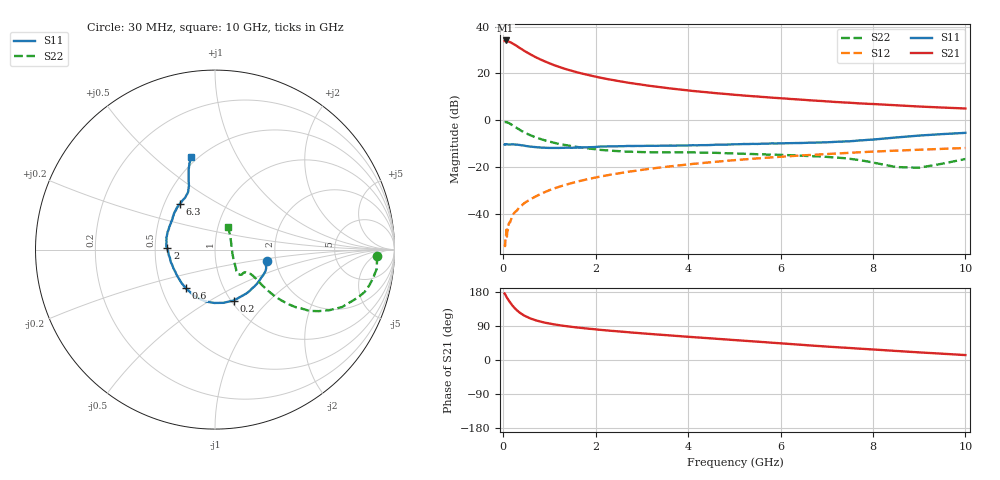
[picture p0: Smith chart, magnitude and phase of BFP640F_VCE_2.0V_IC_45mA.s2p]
! Infineon Technologies  Discrete & RF Semiconductors
! BFP640F
! VCE =  2.0 V,  IC =  45 mA
! Common Emitter S-Parameters:  Apr 2013
# GHz  S  MA  R  50
!  f  S11  S21  S12  S22
! GHz  MAG  ANG  MAG  ANG  MAG  ANG  MAG  ANG
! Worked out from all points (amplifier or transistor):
!   99 points, 30 MHz to 10 GHz, reference 50 ohm
!   highest |S21| = 34.1 dB at 50 MHz (marker M1)
!   |S21| within 3 dB of that: start of sweep to 339.9 MHz
!   unconditionally stable (mu >= 1): 1.195 GHz to end of sweep
!   at 350 MHz: K = 0.66, MSG = 34.1 dB, |S12| = -37.3 dB
!   at 3.5 GHz: K = 1.09, MAG = 15.1 dB, |S12| = -20.1 dB
!   at 10 GHz: K = 1.05, MAG = 7.0 dB, |S12| = -11.9 dB
!   S11 on the Smith chart (normalised r, x): 30 MHz: 1.80, -0.25; 200 MHz: 1.03, -0.64; 600 MHz: 0.66, -0.31; 2 GHz: 0.58, +0.01; 6.3 GHz: 0.60, +0.34; 10 GHz: 0.46, +0.67
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0.03  0.298 -12.5  49.26 175.3  0.0022 70.6  0.9044 -2.2
0.05  0.3033 -19.8  50.6 171.6  0.0031 66.3  0.9063 -5.7
0.07  0.3042 -27.9  50.51 166.9  0.0045 72.0  0.9001 -8.6
0.11  0.3007 -42.7  48.42 158.8  0.0052 82.7  0.8744 -14.5
0.15  0.3001 -55.5  46.61 151.8  0.0065 78.0  0.8293 -19.4
0.2  0.3023 -69.8  43.73 143.5  0.0092 76.5  0.7774 -24.3
0.25  0.3001 -81.2  40.98 136.7  0.0106 72.6  0.7215 -27.9
0.3  0.2973 -90.7  38.2 130.7  0.0117 73.3  0.6717 -30.7
0.4  0.2881 -106.4  32.99 121.4  0.0149 72.1  0.5815 -34.3
0.5  0.2778 -117.5  28.67 114.5  0.0178 72.0  0.5181 -36.4
0.6  0.2698 -126.8  25.14 109.1  0.0205 72.2  0.4681 -37.4
0.8  0.2588 -140.6  19.96 101.5  0.0259 72.5  0.3957 -37.9
1  0.2533 -151.1  16.43 96.2  0.0316 72.4  0.3463 -37.4
1.3  0.2555 -163.8  12.81 90.3  0.0398 72.2  0.2973 -36.1
1.7  0.2599 -175.2  9.944 84.5  0.0508 71.1  0.2572 -34.5
2  0.2653 178.2  8.502 80.9  0.0591 69.7  0.2373 -34.6
3.4  0.2825 156.2  5.057 66.7  0.0965 63.0  0.2042 -40.6
5.1  0.3038 138.3  3.423 51.8  0.1408 53.7  0.1919 -46.0
6.3  0.3221 127.3  2.797 41.4  0.1712 46.5  0.1758 -46.3
6.7  0.3289 123.0  2.628 37.9  0.1805 44.1  0.1685 -45.4
8.5  0.424 110.3  2.075 23.9  0.2219 33.2  0.0988 -12.0
10  0.5326 104.3  1.77 13.0  0.2528 24.6  0.1468 61.2
